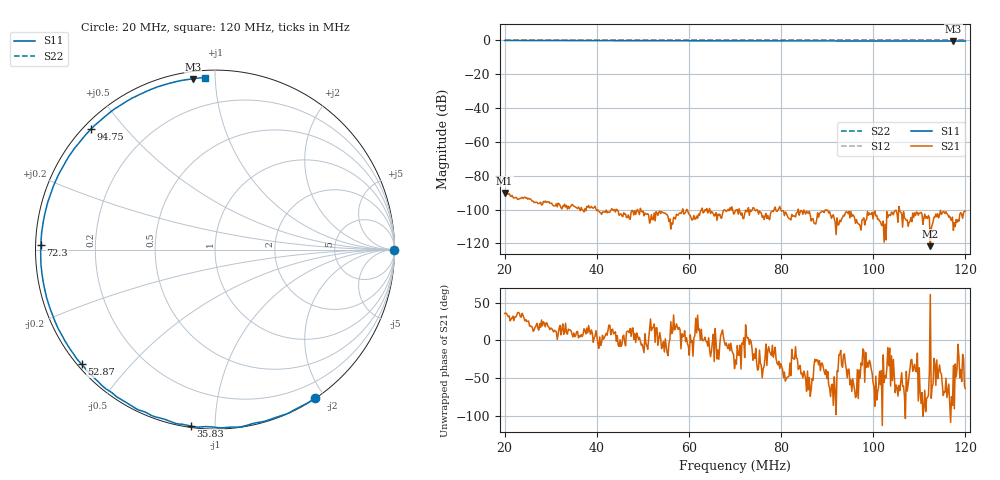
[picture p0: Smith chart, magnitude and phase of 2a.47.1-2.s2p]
! Anritsu VNA Master:  Model: MS2036C/10/77
! SN:  1601066
! /bd0/18may26.balun/2a.47.s2p
! Existing Calibration Information:
! TYPE:  Current Settings,  Active Cal Settings
! TIME:  05/26/2018 07:37:27 PM,  05/26/2018 07:26:54 PM
! INTERNAL TEMP:  45.0 C,  45.5 C
! # POINTS:  500,  500
! START FREQ:  20.000 MHz,  20.000 MHz
! STOP FREQ:  120.000 MHz,  120.000 MHz
! SOURCE POWER:  High,  High
! IFBW:  50 Hz,  50 Hz
! AVG FACTOR:  1 ,  1
! REF PLANE 1:  0 mm,  0 mm
! REF PLANE 2:  0 mm,  0 mm
! CAL TYPE:  Full S11,  Full S11
! CAL METHOD:  SOLT,  SOLT
! CAL LINE TYPE:  Coax,  Coax
! DUT PORT 1:  K-Conn(M),  K-Conn(M)
! DUT PORT 2:  K-Conn(M),  K-Conn(M)
! CAL STATUS:  OK: Accuracy High,  --
# GHZ S DB R 50.0
! FREQ.GHZ  S11DB  S11A  S21DB  S21A  S12DB  S12A  S22DB  S22A
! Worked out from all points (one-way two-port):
!   500 points, 20 MHz to 120 MHz, reference 50 ohm
!   highest |S21| = -90.15 dB at 20 MHz (marker M1); lowest = -121.6 dB at 112.4 MHz (marker M2)
!   lowest |S11| = -0.4 dB at 117.4 MHz (marker M3), VSWR 48.03, Z = 1.85 + j43.9 ohm
!   |S11| at or under -10 dB: nowhere
!   |S22| runs from 0.0 to 0.0 dB; largest |S21 - S12| = 1
!   S11 on the Smith chart (normalised r, x): 20 MHz: 0.01, -1.88; 35.83 MHz: 0.01, -0.87; 52.87 MHz: 0.01, -0.37; 72.3 MHz: 0.02, +0.01; 94.75 MHz: 0.02, +0.41; 120 MHz: 0.04, +0.95
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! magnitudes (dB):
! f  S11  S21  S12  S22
! 20 MHz  0.0  -90.2  0.0  0.0
! 23.81 MHz  0.0  -92.7  0.0  0.0
! 27.82 MHz  -0.1  -95.7  0.0  0.0
! 29.62 MHz  0.0  -95.4  0.0  0.0
! 33.43 MHz  -0.1  -97.5  0.0  0.0
! 35.03 MHz  -0.1  -98.0  0.0  0.0
! 35.83 MHz  -0.1  -99.4  0.0  0.0
! 36.83 MHz  -0.1  -100.2  0.0  0.0
! 37.84 MHz  -0.1  -98.1  0.0  0.0
! 39.24 MHz  -0.1  -99.2  0.0  0.0
! 43.05 MHz  -0.1  -100.5  0.0  0.0
! 44.65 MHz  -0.1  -100.9  0.0  0.0
! 52.87 MHz  -0.2  -101.3  0.0  0.0
! 53.47 MHz  -0.2  -101.5  0.0  0.0
! 70.1 MHz  -0.2  -100.3  0.0  0.0
! 72.3 MHz  -0.3  -100.3  0.0  0.0
! 86.73 MHz  -0.3  -105.5  0.0  0.0
! 94.75 MHz  -0.3  -101.2  0.0  0.0
! 103.4 MHz  -0.3  -103.1  0.0  0.0
! 112.4 MHz  -0.4  -121.6  0.0  0.0
! 117.4 MHz  -0.4  -112.3  0.0  0.0
! 120 MHz  -0.4  -100.9  0.0  0.0
